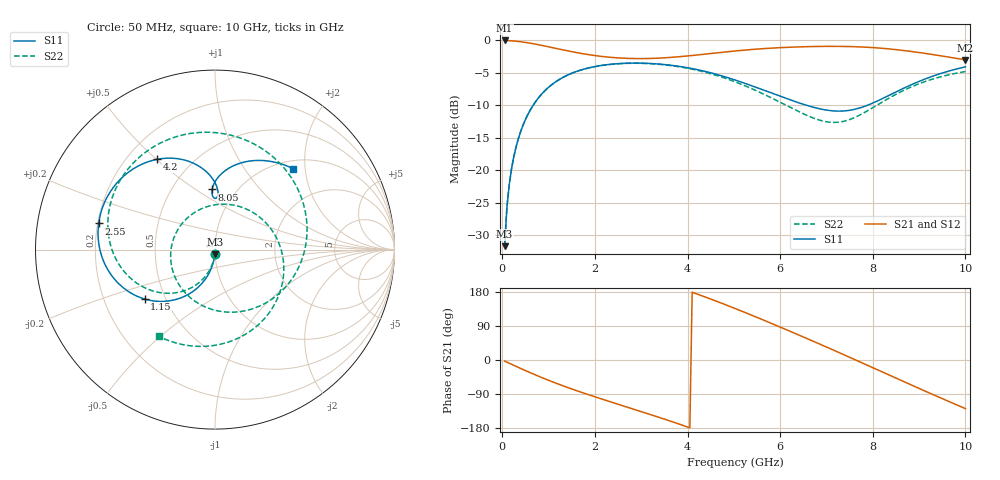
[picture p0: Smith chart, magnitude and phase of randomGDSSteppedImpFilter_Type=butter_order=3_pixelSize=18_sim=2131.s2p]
! freq	dB(S11)	phase(S11)	dB(S12)	phase(S12)
!  dB(S21)	phase(S21)	dB(S22)	phase(S22)
!S-par simulation data
#  GHz  S  DB  R 50
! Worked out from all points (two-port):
!   200 points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, 50 MHz to 10 GHz, reference 50 ohm
!   highest |S21| = -0.01 dB at 50 MHz (marker M1); lowest = -3.0 dB at 10 GHz (marker M2)
!   |S21| within 3 dB of the highest: start of sweep to end of sweep
!   lowest |S11| = -31.7 dB at 50 MHz (marker M3), VSWR 1.05, Z = 49.8 - j2.6 ohm
!   |S11| at or under -10 dB: start of sweep to 665.2 MHz; 6.576 GHz to 7.879 GHz (1.303 GHz wide, 18 % of centre)
!   |S22| runs from -31.7 to -3.5 dB; largest |S21 - S12| = 0
!   S11 on the Smith chart (normalised r, x): 50 MHz: 1.00, -0.05; 1.15 GHz: 0.38, -0.27; 2.55 GHz: 0.20, +0.11; 4.2 GHz: 0.32, +0.50; 8.05 GHz: 0.78, +0.59; 10 GHz: 1.16, +1.72
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0.05  -31.67 -92.7  -0.01 -2.9  -0.01 -2.9  -31.67 -93.2
0.15  -22.19 -98.2  -0.04 -8.6  -0.04 -8.6  -22.20 -99.8
0.35  -15.05 -108.5  -0.16 -19.8  -0.16 -19.8  -15.06 -112.2
0.7  -9.62 -125.4  -0.55 -38.6  -0.55 -38.6  -9.63 -133.0
1.15  -6.38 -145.0  -1.22 -60.8  -1.22 -60.8  -6.39 -157.7
1.75  -4.44 -167.4  -2.06 -87.0  -2.06 -87.0  -4.45 172.2
2.55  -3.55 167.3  -2.72 -118.6  -2.72 -118.6  -3.57 134.4
3.4  -3.65 143.4  -2.72 -151.9  -2.72 -151.9  -3.69 92.2
4.2  -4.48 122.6  -2.25 174.4  -2.25 174.4  -4.58 46.5
4.65  -5.27 111.9  -1.90 153.9  -1.90 153.9  -5.44 17.0
5.05  -6.15 103.6  -1.61 134.8  -1.61 134.8  -6.44 -12.0
5.45  -7.15 96.6  -1.36 115.0  -1.36 115.0  -7.63 -43.7
5.85  -8.20 91.4  -1.17 94.7  -1.17 94.7  -8.98 -78.6
6.25  -9.24 88.1  -1.03 74.0  -1.03 74.0  -10.42 -116.9
6.7  -10.25 86.9  -0.94 50.3  -0.94 50.3  -11.90 -165.5
7.4  -10.85 90.7  -0.93 12.6  -0.93 12.6  -12.40 108.1
8.05  -9.49 92.7  -1.13 -23.1  -1.13 -23.1  -10.14 33.8
8.35  -8.46 90.0  -1.31 -39.6  -1.31 -39.6  -8.88 4.8
8.75  -7.08 82.8  -1.62 -61.5  -1.62 -61.5  -7.42 -29.7
9.15  -5.88 72.6  -2.02 -83.2  -2.02 -83.2  -6.28 -61.1
9.6  -4.81 59.1  -2.52 -107.2  -2.52 -107.2  -5.36 -94.3
10  -4.07 46.2  -2.99 -128.3  -2.99 -128.3  -4.79 -123.0
